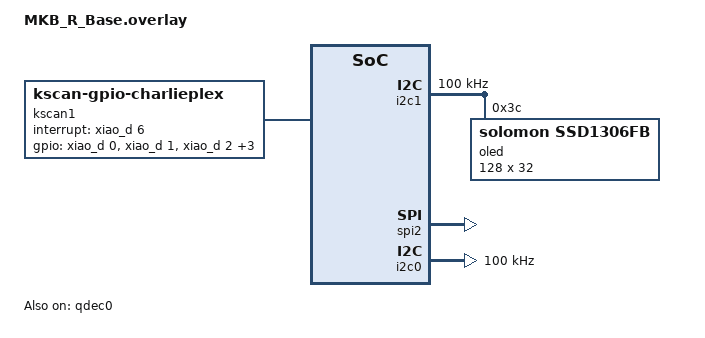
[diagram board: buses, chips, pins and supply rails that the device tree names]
#include <dt-bindings/zmk/bt.h>
#include <input/processors.dtsi>
#include <dt-bindings/zmk/input_transform.h>
#include <zephyr/dt-bindings/input/input-event-codes.h>
#include <zephyr/dt-bindings/pinctrl/nrf-pinctrl.h>
#include "MKB_pinctrl_R.dtsi"
#include "MKB.dtsi"
#include <input/processors/runtime-input-processor.dtsi>

&default_transform {
    col-offset = <6>;
};

/ {
    chosen {
        zephyr,display = &oled;
    };

    kscan0: kscan0 {
        compatible = "zmk,kscan-composite";
        matrix {
            kscan = <&kscan1>;
        };
        direct {
            row-offset = <6>;
            kscan = <&kscan2>;
        };
    };

    kscan1: kscan1 {
        compatible = "zmk,kscan-gpio-charlieplex";
        interrupt-gpios = <&xiao_d 6 (GPIO_ACTIVE_HIGH)>;
        gpios
            = <&xiao_d  0 (GPIO_ACTIVE_HIGH)>
            , <&xiao_d  1 (GPIO_ACTIVE_HIGH)>
            , <&xiao_d  2 (GPIO_ACTIVE_HIGH)>
            , <&xiao_d  3 (GPIO_ACTIVE_HIGH)>
            , <&gpio0   9 (GPIO_ACTIVE_HIGH)>
            , <&gpio0  10 (GPIO_ACTIVE_HIGH)>
            ;
    };
    
    kscan2: kscan2 {
        compatible = "zmk,kscan-mock";
        columns = <0>;
        rows = <0>;
        events = <0>;
    };
};

&i2c1 {
    status = "okay";
    compatible = "nordic,nrf-twi";
    pinctrl-0 = <&i2c1_default>;
    pinctrl-1 = <&i2c1_sleep>;
    pinctrl-names = "default", "sleep";
    clock-frequency = <100000>; 
    
    oled: ssd1306@3c {
        compatible = "solomon,ssd1306fb";
        reg = <0x3c>;
        width = <128>;
        height = <32>;
        segment-offset = <0>;
        page-offset = <0>;
        display-offset = <0>;
        multiplex-ratio = <31>;
        segment-remap;
        com-invdir;
        com-sequential;
        inversion-on;
        prechargep = <0x22>;
    };
};

&pinctrl {
    spi2_boot_dummy: spi2_boot_dummy {
        group1 {
            psels = <NRF_PSEL_DISCONNECTED(SPIM_SCK)>,
                    <NRF_PSEL_DISCONNECTED(SPIM_MOSI)>,
                    <NRF_PSEL_DISCONNECTED(SPIM_MISO)>;
            low-power-enable;
        };
    };

    i2c0_boot_dummy: i2c0_boot_dummy {
        group1 {
            psels = <NRF_PSEL_DISCONNECTED(TWIM_SCL)>,
                    <NRF_PSEL_DISCONNECTED(TWIM_SDA)>;
            low-power-enable;
        };
    };

    qdec0_boot_dummy: qdec0_boot_dummy {
        group1 {
            psels = <NRF_PSEL_DISCONNECTED(QDEC_A)>,
                    <NRF_PSEL_DISCONNECTED(QDEC_B)>,
                    <NRF_PSEL_DISCONNECTED(QDEC_LED)>;
            low-power-enable;
        };
    };

    spi2_active_shared: spi2_active_shared {
        group1 {
            psels = <NRF_PSEL(SPIM_SCK, 0, 12)>,
                    <NRF_PSEL(SPIM_MOSI, 0, 11)>,
                    <NRF_PSEL_DISCONNECTED(SPIM_MISO)>;
            nordic,drive-mode = <NRF_DRIVE_H0H1>;
        };
    };

    i2c0_active_shared: i2c0_active_shared {
        group1 {
            psels = <NRF_PSEL(TWIM_SCL, 0, 12)>,
                    <NRF_PSEL(TWIM_SDA, 0, 11)>;
            bias-pull-up;
        };
    };

    qdec0_active_shared: qdec0_active_shared {
        group1 {
            psels = <NRF_PSEL(QDEC_A, 0, 11)>,
                    <NRF_PSEL(QDEC_B, 0, 12)>,
                    <NRF_PSEL_DISCONNECTED(QDEC_LED)>;
            bias-pull-up;
        };
    };

    shared_sleep: shared_sleep {
        group1 {
            psels = <NRF_PSEL_DISCONNECTED(SPIM_SCK)>,
                    <NRF_PSEL_DISCONNECTED(SPIM_MOSI)>,
                    <NRF_PSEL_DISCONNECTED(SPIM_MISO)>,
                    <NRF_PSEL_DISCONNECTED(TWIM_SCL)>,
                    <NRF_PSEL_DISCONNECTED(TWIM_SDA)>,
                    <NRF_PSEL_DISCONNECTED(QDEC_A)>,
                    <NRF_PSEL_DISCONNECTED(QDEC_B)>,
                    <NRF_PSEL_DISCONNECTED(QDEC_LED)>;
            low-power-enable;
        };
    };
};

&spi2 {
    status = "okay";
    compatible = "nordic,nrf-spim";
    pinctrl-0 = <&spi2_boot_dummy>;
    pinctrl-1 = <&shared_sleep>;
    pinctrl-names = "default", "sleep";
};

&i2c0 {
    status = "okay";
    compatible = "nordic,nrf-twi";
    clock-frequency = <100000>;
    pinctrl-0 = <&i2c0_boot_dummy>;
    pinctrl-1 = <&shared_sleep>;
    pinctrl-names = "default", "sleep";
};

&qdec0 {
    status = "okay";
    led-pre = <0>;
    steps = <24>;
    pinctrl-0 = <&qdec0_boot_dummy>;
    pinctrl-1 = <&shared_sleep>;
    pinctrl-names = "default", "sleep";
};

/ {
    mkb_mux_pinctrl: mkb_mux_pinctrl {
        compatible = "mkb,mode-mux-pinctrl";
        pinctrl-0 = <&shared_sleep>;
        pinctrl-1 = <&spi2_active_shared>;
        pinctrl-2 = <&i2c0_active_shared>;
        pinctrl-3 = <&qdec0_active_shared>;
        pinctrl-names = "default", "spi", "i2c", "qdec";
    };
};
